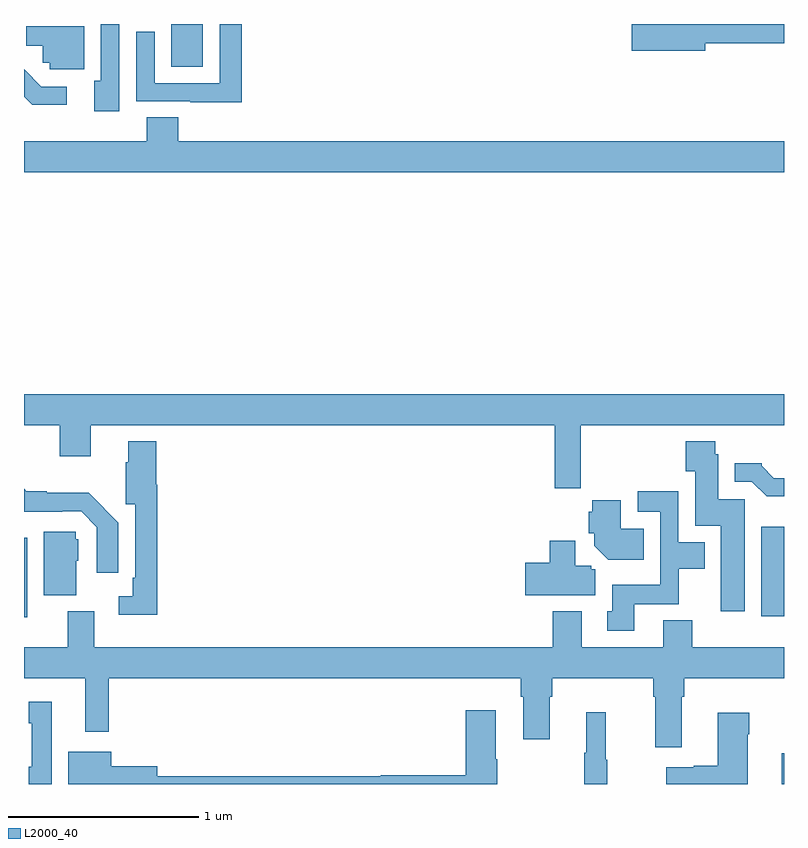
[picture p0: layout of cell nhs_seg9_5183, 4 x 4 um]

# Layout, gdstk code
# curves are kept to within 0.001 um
import gdstk
lib = gdstk.Library(unit=1e-6, precision=1e-09)
def R(c, l, rs):  # rectangles x0, y0, x1, y1
    for r in rs: c.add(gdstk.rectangle(r[:2], r[2:], *l))
def P(c, l, *ps):  # polygons
    for p in ps: c.add(gdstk.Polygon(p, *l))
L2000_40 = (2000, 40)

nhs_seg9_5183 = lib.new_cell('nhs_seg9_5183')
R(nhs_seg9_5183, L2000_40, [(414.989,1226.5,415,1226.662), (411,1227.378,411.016,1227.796), (414.881,1227.384,415,1227.853), (411.776,1230.274,411.94,1230.5)])
P(nhs_seg9_5183, L2000_40, [(411.501,1230.5),(411.405,1230.5),(411.405,1230.202),(411.371,1230.202),(411.371,1230.042),(411.501,1230.042)],
  [(412.145,1230.5),(412.029,1230.5),(412.029,1230.189),(411.687,1230.189),(411.687,1230.46),(411.591,1230.46),(411.591,1230.093),(411.875,1230.093),(411.875,1230.089),(412.145,1230.089)],
  [(414.586,1230.4),(415,1230.4),(415,1230.5),(414.198,1230.5),(414.198,1230.358),(414.586,1230.358)],
  [(411.316,1230.489),(411.012,1230.489),(411.012,1230.386),(411.099,1230.386),(411.099,1230.297),(411.135,1230.297),(411.135,1230.261),(411.316,1230.261)],
  [(411.226,1230.171),(411.09,1230.171),(411,1230.261),(411,1230.118),(411.044,1230.074),(411.226,1230.074)],
  [(415,1229.884),(411.812,1229.884),(411.812,1230.008),(411.647,1230.008),(411.647,1229.884),(411,1229.884),(411,1229.72),(415,1229.72)],
  [(413.93,1228.388),(415,1228.388),(415,1228.552),(411,1228.552),(411,1228.388),(411.188,1228.388),(411.188,1228.224),(411.352,1228.224),(411.352,1228.388),(413.794,1228.388),(413.794,1228.056),(413.93,1228.056)],
  [(411.701,1228.075),(411.695,1228.075),(411.695,1228.303),(411.548,1228.303),(411.548,1228.193),(411.536,1228.193),(411.536,1227.972),(411.585,1227.972),(411.585,1227.586),(411.573,1227.586),(411.573,1227.489),(411.498,1227.489),(411.498,1227.392),(411.701,1227.392)],
  [(414.793,1227.999),(414.655,1227.999),(414.655,1228.236),(414.639,1228.236),(414.639,1228.303),(414.482,1228.303),(414.482,1228.147),(414.533,1228.147),(414.533,1227.86),(414.668,1227.86),(414.668,1227.408),(414.793,1227.408)],
  [(415,1228.11),(414.946,1228.11),(414.882,1228.174),(414.882,1228.189),(414.74,1228.189),(414.74,1228.092),(414.831,1228.092),(414.91,1228.014),(415,1228.014)],
  [(411.496,1227.876),(411.341,1228.033),(411.121,1228.033),(411.121,1228.041),(411.013,1228.041),(411,1228.054),(411,1227.932),(411.2,1227.932),(411.2,1227.936),(411.3,1227.936),(411.384,1227.852),(411.384,1227.612),(411.496,1227.612)],
  [(414.211,1227.446),(414.447,1227.446),(414.447,1227.632),(414.583,1227.632),(414.583,1227.772),(414.444,1227.772),(414.444,1228.042),(414.231,1228.042),(414.231,1227.933),(414.348,1227.933),(414.348,1227.55),(414.095,1227.55),(414.095,1227.408),(414.071,1227.408),(414.071,1227.306),(414.211,1227.306)],
  [(414.263,1227.844),(414.142,1227.844),(414.142,1227.994),(413.99,1227.994),(413.99,1227.933),(413.973,1227.933),(413.973,1227.819),(414.002,1227.819),(414.002,1227.754),(414.076,1227.68),(414.263,1227.68)],
  [(411.274,1227.675),(411.286,1227.675),(411.286,1227.789),(411.273,1227.789),(411.273,1227.828),(411.104,1227.828),(411.104,1227.494),(411.274,1227.494)],
  [(414.006,1227.63),(413.985,1227.63),(413.985,1227.65),(413.901,1227.65),(413.901,1227.781),(413.768,1227.781),(413.768,1227.665),(413.637,1227.665),(413.637,1227.494),(414.006,1227.494)],
  [(414.463,1226.96),(414.476,1226.96),(414.476,1227.056),(415,1227.056),(415,1227.22),(414.518,1227.22),(414.518,1227.361),(414.365,1227.361),(414.365,1227.22),(413.935,1227.22),(413.935,1227.409),(413.783,1227.409),(413.783,1227.22),(411.37,1227.22),(411.37,1227.409),(411.23,1227.409),(411.23,1227.22),(411,1227.22),(411,1227.056),(411.323,1227.056),(411.323,1226.775),(411.445,1226.775),(411.445,1227.056),(413.615,1227.056),(413.615,1226.96),(413.627,1226.96),(413.627,1226.736),(413.767,1226.736),(413.767,1226.96),(413.78,1226.96),(413.78,1227.056),(414.311,1227.056),(414.311,1226.96),(414.323,1226.96),(414.323,1226.694),(414.463,1226.694)],
  [(411.145,1226.932),(411.024,1226.932),(411.024,1226.819),(411.041,1226.819),(411.041,1226.591),(411.024,1226.591),(411.024,1226.5),(411.145,1226.5)],
  [(413.49,1226.629),(413.482,1226.629),(413.482,1226.887),(413.324,1226.887),(413.324,1226.546),(412.878,1226.546),(412.878,1226.54),(411.7,1226.54),(411.7,1226.593),(411.46,1226.593),(411.46,1226.671),(411.233,1226.671),(411.233,1226.5),(413.49,1226.5)],
  [(414.07,1226.628),(414.062,1226.628),(414.062,1226.878),(413.96,1226.878),(413.96,1226.665),(413.949,1226.665),(413.949,1226.5),(414.07,1226.5)],
  [(414.808,1226.762),(414.816,1226.762),(414.816,1226.875),(414.65,1226.875),(414.65,1226.597),(414.524,1226.597),(414.524,1226.587),(414.381,1226.587),(414.381,1226.5),(414.808,1226.5)])

lib.write_gds('nhs_seg9_5183.gds')
